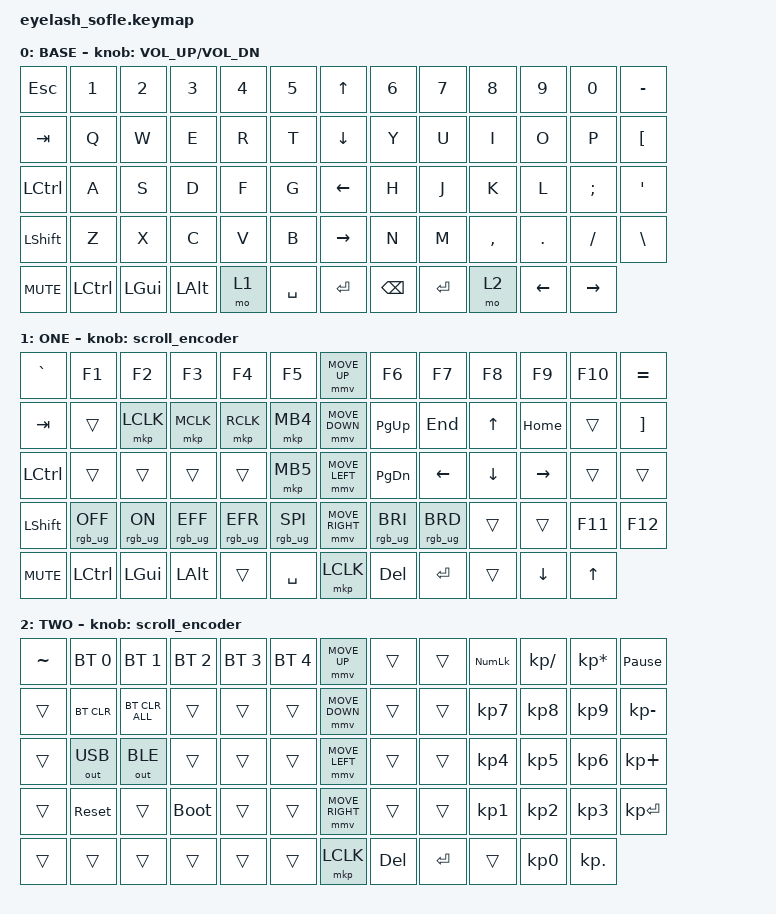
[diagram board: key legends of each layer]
#include <behaviors.dtsi>
#include <dt-bindings/zmk/bt.h>
#include <dt-bindings/zmk/keys.h>
#include <dt-bindings/zmk/mouse.h>
#include <dt-bindings/zmk/outputs.h>
#include <dt-bindings/zmk/rgb.h>

#include <input/processors.dtsi>

/*

   &mmv_input_listener {
       input-processors = <&zip_xy_scaler 2 1>;
   };

   &msc_input_listener {
       input-processors = <&zip_xy_scaler 2 1>;
   };

 */

#define ZMK_MOUSE_DEFAULT_MOVE_VAL 1200  // 600
#define ZMK_MOUSE_DEFAULT_SCRL_VAL 20    // 10


/ {
    behaviors {
        mmv {
            acceleration-exponent = <1>;      // 1
            time-to-max-speed-ms = <900>;    // 40
            delay-ms = <0>;                   // 0
        };

        msc {
            acceleration-exponent = <1>;      // 0
            time-to-max-speed-ms = <400>;      // 500
            delay-ms = <0>;                   //   10
        };
    };

    scroll_encoder: scroll_encoder {
        compatible = "zmk,behavior-sensor-rotate";
        #sensor-binding-cells = <0>;
        bindings = <&msc SCRL_DOWN>, <&msc SCRL_UP>;

        tap-ms = <30>;
    };

    keymap {
        compatible = "zmk,keymap";

        layer0 {
            bindings = <
&kp ESC     &kp N1     &kp N2        &kp N3        &kp N4  &kp N5       &kp UP_ARROW     &kp N6         &kp N7     &kp N8     &kp N9           &kp N0      &kp MINUS
&kp TAB     &kp Q      &kp W         &kp E         &kp R   &kp T        &kp DOWN_ARROW   &kp Y          &kp U      &kp I      &kp O            &kp P       &kp LEFT_BRACKET
&kp LCTRL   &kp A      &kp S         &kp D         &kp F   &kp G        &kp LEFT_ARROW   &kp H          &kp J      &kp K      &kp L            &kp SEMI    &kp APOS
&kp LSHFT   &kp Z      &kp X         &kp C         &kp V   &kp B        &kp RIGHT_ARROW  &kp N          &kp M      &kp COMMA  &kp DOT          &kp FSLH    &kp BSLH
&kp C_MUTE  &kp LCTRL  &kp LEFT_GUI  &kp LEFT_ALT  &mo 1   &kp SPACE    &kp ENTER        &kp BACKSPACE  &kp ENTER  &mo 2      &kp LEFT_ARROW   &kp RIGHT_ARROW
            >;

            sensor-bindings = <&inc_dec_kp C_VOLUME_UP C_VOL_DN>;
            display-name = "BASE";
        };

        layer_1 {
            bindings = <
&kp GRAVE   &kp F1           &kp F2          &kp F3           &kp F4           &kp F5             &mmv MOVE_UP     &kp F6           &kp F7           &kp F8      &kp F9          &kp F10        &kp EQUAL
&kp TAB     &trans           &mkp LCLK       &mkp MCLK        &mkp RCLK        &mkp MB4           &mmv MOVE_DOWN   &kp PG_UP        &kp END          &kp UP      &kp HOME        &trans         &kp RIGHT_BRACKET
&kp LCTRL   &trans           &trans          &trans           &trans           &mkp MB5           &mmv MOVE_LEFT   &kp PG_DN        &kp LEFT         &kp DOWN    &kp RIGHT       &trans         &trans
&kp LSHFT   &rgb_ug RGB_OFF  &rgb_ug RGB_ON  &rgb_ug RGB_EFF  &rgb_ug RGB_EFR  &rgb_ug RGB_SPI    &mmv MOVE_RIGHT  &rgb_ug RGB_BRI  &rgb_ug RGB_BRD  &trans      &trans          &kp F11        &kp F12
&kp C_MUTE  &kp LCTRL        &kp LEFT_GUI    &kp LEFT_ALT     &trans           &kp SPACE          &mkp LCLK        &kp DELETE       &kp ENTER        &trans      &kp DOWN_ARROW  &kp UP_ARROW
            >;

            sensor-bindings = <&scroll_encoder>;
            display-name = "ONE";
        };

        layer_2 {
            bindings = <
&kp TILDE        &bt BT_SEL 0  &bt BT_SEL 1    &bt BT_SEL 2  &bt BT_SEL 3  &bt BT_SEL 4    &mmv MOVE_UP     &trans      &trans     &kp KP_NLCK   &kp KP_SLASH   &kp KP_MULTIPLY  &kp PAUSE_BREAK
&trans           &bt BT_CLR    &bt BT_CLR_ALL  &trans        &trans        &trans          &mmv MOVE_DOWN   &trans      &trans     &kp KP_N7     &kp KP_N8      &kp KP_N9        &kp KP_MINUS
&trans           &out OUT_USB  &out OUT_BLE    &trans        &trans        &trans          &mmv MOVE_LEFT   &trans      &trans     &kp KP_N4     &kp KP_N5      &kp KP_N6        &kp KP_PLUS
&trans           &sys_reset    &trans          &bootloader   &trans        &trans          &mmv MOVE_RIGHT  &trans      &trans     &kp KP_N1     &kp KP_N2      &kp KP_N3        &kp KP_ENTER
&trans           &trans        &trans          &trans        &trans        &trans          &mkp LCLK        &kp DELETE  &kp ENTER  &trans        &kp KP_N0      &kp KP_DOT
            >;

            sensor-bindings = <&scroll_encoder>;
            display-name = "TWO";
        };
    };
};
